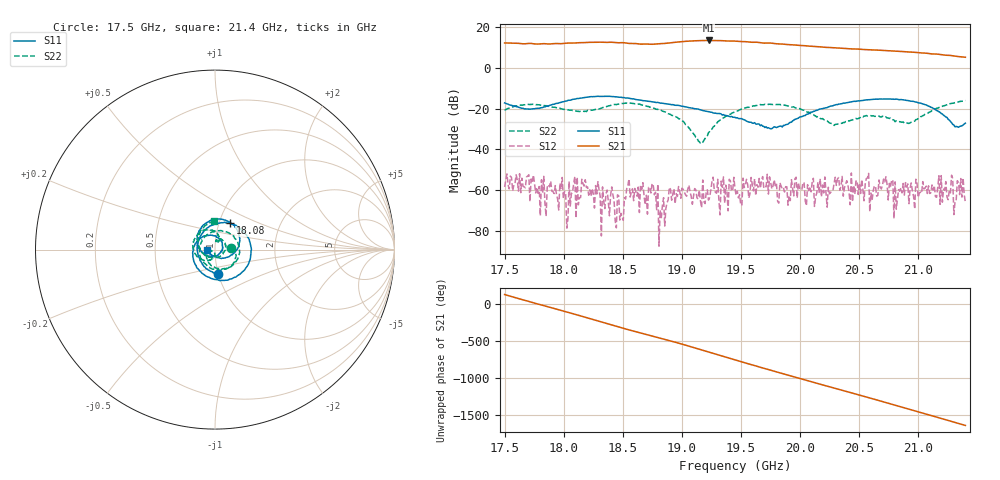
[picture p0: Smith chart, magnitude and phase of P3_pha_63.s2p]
!Created with skrf (http://scikit-rf.org).
# GHz S RI R 50.0
!freq ReS11 ImS11 ReS21 ImS21 ReS12 ImS12 ReS22 ImS22
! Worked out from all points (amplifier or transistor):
!   401 points, 17.5 GHz to 21.4 GHz, reference 50 ohm
!   highest |S21| = 13.6 dB at 19.23 GHz (marker M1)
!   |S21| within 3 dB of that: start of sweep to 20.14 GHz
!   unconditionally stable (mu >= 1): start of sweep to end of sweep
!   at 18.14 GHz: K = 173.03, MAG = 12.7 dB, |S12| = -63.6 dB
!   at 19.45 GHz: K = 98.95, MAG = 13.3 dB, |S12| = -59.3 dB
!   at 21.4 GHz: K = 531.30, MAG = 5.4 dB, |S12| = -66.1 dB
!   S11 on the Smith chart (normalised r, x): 17.5 GHz: 0.99, -0.28; 18.08 GHz: 1.13, +0.34; 21.4 GHz: 0.92, -0.01
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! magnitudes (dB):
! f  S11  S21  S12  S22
! 17.5 GHz  -17.1  12.3  -58.4  -20.8
! 17.99 GHz  -16.6  12.0  -53.8  -20.2
! 18.02 GHz  -16.2  12.2  -61.7  -20.4
! 18.08 GHz  -15.4  12.3  -60.9  -20.8
! 18.15 GHz  -14.8  12.5  -54.6  -21.2
! 18.49 GHz  -14.5  12.5  -73.3  -17.4
! 18.53 GHz  -14.7  12.2  -59.3  -17.2
! 18.7 GHz  -16.1  11.8  -62.5  -18.7
! 18.74 GHz  -16.4  11.7  -61.4  -19.3
! 18.81 GHz  -17.0  12.0  -87.5  -20.7
! 18.91 GHz  -18.0  12.5  -64.9  -23.2
! 19.16 GHz  -20.5  13.5  -65.3  -36.9
! 19.23 GHz  -21.4  13.6  -64.9  -31.8
! 19.45 GHz  -24.2  13.2  -59.3  -21.5
! 19.49 GHz  -24.8  13.0  -62.3  -20.5
! 19.54 GHz  -25.7  13.0  -57.4  -19.6
! 19.75 GHz  -29.8  12.3  -56.2  -17.9
! 20.1 GHz  -21.6  10.7  -56.2  -22.8
! 20.76 GHz  -15.2  8.5  -56.7  -24.7
! 20.82 GHz  -15.2  8.3  -69.3  -25.9
! 20.89 GHz  -15.8  8.0  -56.3  -26.8
! 21.4 GHz  -27.1  5.3  -66.1  -15.9
